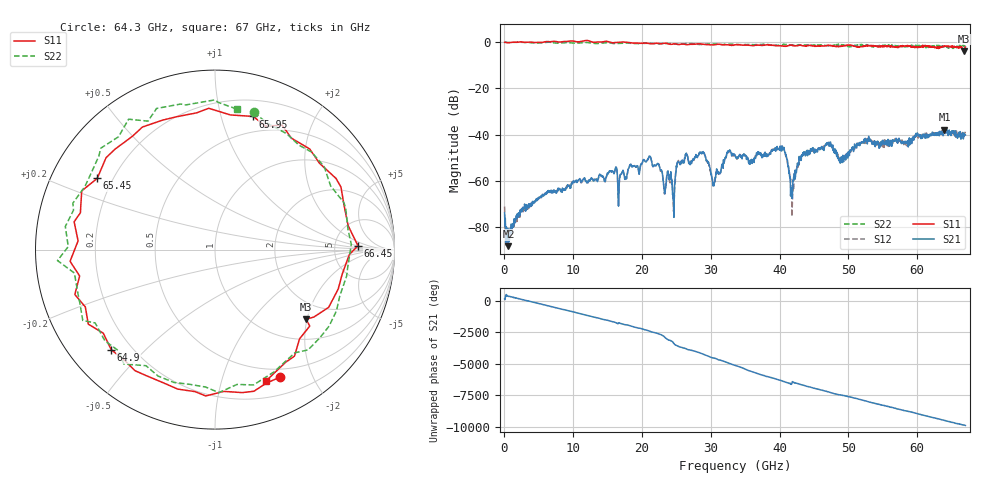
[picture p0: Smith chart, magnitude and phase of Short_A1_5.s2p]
#  HZ  S  MA  R  50.00
! Rohde & Schwarz ZVA67 4Ports - Version 4.11 - 1305.7002k04 SN: 101051
! Date: 2023-05-31 11:11:14
! Measurements: S11 S21 S12 S22
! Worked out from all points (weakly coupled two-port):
!   1340 points, 50 MHz to 67 GHz, reference 50 ohm
!   highest |S21| = -37.91 dB at 63.95 GHz (marker M1); lowest = -88.2 dB at 600 MHz (marker M2)
!   lowest |S11| = -3.9 dB at 66.75 GHz (marker M3), VSWR 4.54, Z = 75.3 - j98.7 ohm
!   |S11| at or under -10 dB: nowhere
!   |S22| runs from -2.8 to 0.0 dB; largest |S21 - S12| = 0.0037
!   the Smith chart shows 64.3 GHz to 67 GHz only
!   S11 on the Smith chart (normalised r, x): 64.3 GHz: 0.40, -1.56; 64.9 GHz: 0.13, -0.40; 65.45 GHz: 0.14, +0.27; 65.95 GHz: 0.35, +1.27; 66.45 GHz: 8.72, +1.01; 67 GHz: 0.37, -1.40
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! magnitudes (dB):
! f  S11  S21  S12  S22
! 50 MHz  -0.1  -73.8  -71.1  0.0
! 600 MHz  -0.3  -88.2  -82.0  -0.2
! 11.25 GHz  0.3  -60.2  -60.7  -0.3
! 22.4 GHz  -0.6  -52.8  -52.7  -0.8
! 24.55 GHz  -0.8  -68.3  -69.1  -0.8
! 26.4 GHz  -1.0  -48.5  -48.8  -0.6
! 28.95 GHz  -1.0  -47.6  -47.6  -1.1
! 30.4 GHz  -1.2  -61.2  -62.0  -0.8
! 33.55 GHz  -1.2  -49.1  -48.9  -1.1
! 40.35 GHz  -1.7  -44.9  -44.9  -1.1
! 41.8 GHz  -1.4  -63.3  -75.4  -1.2
! 43.2 GHz  -1.5  -48.8  -49.1  -1.2
! 44.7 GHz  -1.6  -46.0  -46.8  -1.4
! 55.85 GHz  -1.8  -44.6  -43.5  -1.3
! 63.95 GHz  -1.8  -37.9  -38.4  -2.2
! 64.3 GHz  -2.0  -38.5  -38.5  -2.0
! 64.9 GHz  -1.9  -40.4  -38.9  -2.5
! 65.45 GHz  -2.3  -40.6  -38.8  -2.0
! 65.95 GHz  -2.2  -40.4  -40.5  -1.6
! 66.45 GHz  -2.0  -40.0  -39.5  -1.8
! 66.75 GHz  -3.9  -40.2  -40.1  -1.4
! 67 GHz  -2.1  -40.1  -39.2  -2.0
